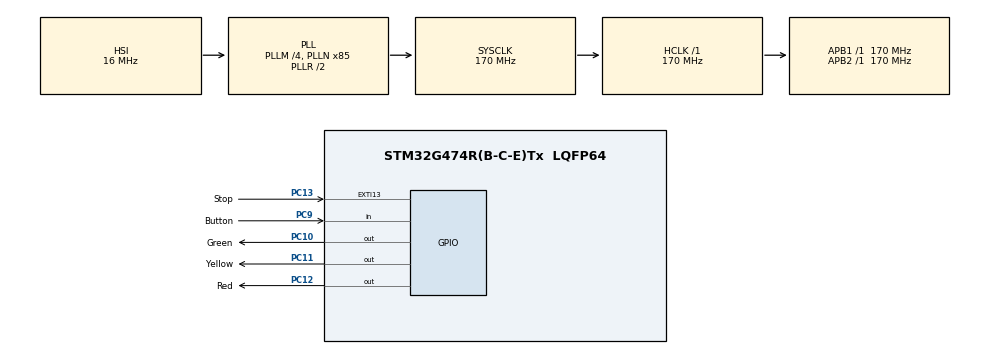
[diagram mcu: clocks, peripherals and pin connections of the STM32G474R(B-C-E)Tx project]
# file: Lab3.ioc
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Mcu.Family=STM32G4
Mcu.Name=STM32G474R(B-C-E)Tx
Mcu.Package=LQFP64
NVIC.EXTI15_10_IRQn=true\:1\:0\:true\:false\:true\:true\:true\:true
NVIC.PriorityGroup=NVIC_PRIORITYGROUP_4
PA13.GPIO_Label=T_SWDIO
PA13.Signal=SYS_JTMS-SWDIO
PA14.GPIO_Label=T_SWCLK
PA14.Signal=SYS_JTCK-SWCLK
PA2.GPIO_Label=LPUART1_TX [STLINKV3E_VCP_RX]
PA2.Signal=LPUART1_TX
PA3.GPIO_Label=LPUART1_RX [STLINKV3E_VCP_TX]
PA3.Signal=LPUART1_RX
PB3.GPIO_Label=T_SWO
PB3.Signal=SYS_JTDO-SWO
PC10.GPIO_Label=Green
PC10.Signal=GPIO_Output
PC11.GPIO_Label=Yellow
PC11.Signal=GPIO_Output
PC12.GPIO_Label=Red
PC12.Signal=GPIO_Output
PC13.GPIO_Label=Stop
PC13.GPIO_ModeDefaultEXTI=GPIO_MODE_IT_RISING
PC13.GPIO_PuPd=GPIO_PULLDOWN
PC13.Signal=GPXTI13
PC14-OSC32_IN.GPIO_Label=RCC_OSC32_IN
PC14-OSC32_IN.Signal=RCC_OSC32_IN
PC15-OSC32_OUT.GPIO_Label=RCC_OSC32_OUT
PC15-OSC32_OUT.Signal=RCC_OSC32_OUT
PC9.GPIO_Label=Button
PC9.GPIO_PuPd=GPIO_PULLUP
PC9.Signal=GPIO_Input
PF0-OSC_IN.GPIO_Label=RCC_OSC_IN
PF0-OSC_IN.Signal=RCC_OSC_IN
PF1-OSC_OUT.GPIO_Label=RCC_OSC_OUT
PF1-OSC_OUT.Signal=RCC_OSC_OUT
ProjectManager.HeapSize=0x200
ProjectManager.StackSize=0x400
ProjectManager.TargetToolchain=STM32CubeIDE
RCC.ADC12Freq_Value=170000000
RCC.ADC345Freq_Value=170000000
RCC.AHBFreq_Value=170000000
RCC.APB1Freq_Value=170000000
RCC.APB1TimFreq_Value=170000000
RCC.APB2Freq_Value=170000000
RCC.APB2TimFreq_Value=170000000
RCC.CortexFreq_Value=170000000
RCC.EXTERNAL_CLOCK_VALUE=12288000
RCC.HCLKFreq_Value=170000000
RCC.HSE_VALUE=24000000
RCC.HSI48_VALUE=48000000
RCC.HSI_VALUE=16000000
RCC.LSE_VALUE=32768
RCC.PLLM=RCC_PLLM_DIV4
RCC.PLLN=85
RCC.RTCClockSelection=RCC_RTCCLKSOURCE_LSE
RCC.SYSCLKFreq_VALUE=170000000
RCC.SYSCLKSource=RCC_SYSCLKSOURCE_PLLCLK
RCC.USBFreq_Value=170000000
RCC.VCOOutputFreq_Value=340000000
VP_SYS_VS_DBSignals.Mode=DisableDeadBatterySignals
board=NUCLEO-G474RE

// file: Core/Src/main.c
/* USER CODE BEGIN Header */
/**
- @file           : main.c
- @brief          : Main program body
  */
/* USER CODE END Header */

#include "main.h"

/* USER CODE BEGIN PV */

/* =========================
   State 定義
   0 = NORMAL
   1 = WARNING
   2 = EMERGENCY
   ========================= */
#define STATE_NORMAL      0
#define STATE_WARNING     1
#define STATE_EMERGENCY   2

int state = STATE_NORMAL;

/* =========================
   Timing 變數
   now      = 目前時間
   previous = 上一次狀態切換或 LED Toggle 的時間
   state_entry_time = 紀錄進入特定 State 的時間
   ========================= */
uint32_t now = 0;
uint32_t previous = 0;
uint32_t state_entry_time = 0; // 新增：專門記錄進入 WARNING 的起始時間

/* =========================
   STOP Event Flag
   由 EXTI Interrupt 設定
   ========================= */
volatile int STOP = 0;

/* =========================
   MODE Event
   ========================= */
int MODE_event = 0;

/* =========================
   MODE Button 狀態
   ========================= */
GPIO_PinState mode_previous = GPIO_PIN_SET;
GPIO_PinState mode_current = GPIO_PIN_SET;

/* USER CODE END PV */

void SystemClock_Config(void);
static void MX_GPIO_Init(void);

/**
- @brief  程式進入點
- @retval int
  */
int main(void)
{
  /* MCU 基本初始化 */
  HAL_Init();
  SystemClock_Config();
  MX_GPIO_Init();

  /* USER CODE BEGIN 2 */
  /* 開機預設：NORMAL 狀態 */
  previous = HAL_GetTick();
  HAL_GPIO_WritePin(GPIOC, GPIO_PIN_10, GPIO_PIN_SET);    // Green ON
  HAL_GPIO_WritePin(GPIOC, GPIO_PIN_11, GPIO_PIN_RESET);  // Yellow OFF
  HAL_GPIO_WritePin(GPIOC, GPIO_PIN_12, GPIO_PIN_RESET);  // Red OFF
  /* USER CODE END 2 */

  /* Infinite loop */
  /* USER CODE BEGIN WHILE */
  while (1)
  {
    /* =====================================================
       Step 1：Read Events
       ===================================================== */
    MODE_event = 0;

    mode_current = HAL_GPIO_ReadPin(GPIOC, GPIO_PIN_9);

    /* 偵測按下瞬間 (HIGH -> LOW) */
    if ((mode_previous == GPIO_PIN_SET) && (mode_current == GPIO_PIN_RESET))
    {
        HAL_Delay(50); // Debounce
        if (HAL_GPIO_ReadPin(GPIOC, GPIO_PIN_9) == GPIO_PIN_RESET)
        {
            MODE_event = 1;
        }
    }

    mode_previous = mode_current;
    now = HAL_GetTick();

    /* =====================================================
       Step 2：Write Event / Transition
       ===================================================== */

    /* 1. STOP Event (優先度最高) */
    if (STOP == 1)
    {
        state = STATE_EMERGENCY;
        STOP = 0;

        /* EMERGENCY 輸出 */
        HAL_GPIO_WritePin(GPIOC, GPIO_PIN_10, GPIO_PIN_RESET); // Green OFF
        HAL_GPIO_WritePin(GPIOC, GPIO_PIN_11, GPIO_PIN_RESET); // Yellow OFF
        HAL_GPIO_WritePin(GPIOC, GPIO_PIN_12, GPIO_PIN_SET);   // Red ON
    }
    /* 2. 按下 MODE 鍵切換狀態 */
    else if ((state == STATE_NORMAL) && (MODE_event == 1))
    {
        state = STATE_WARNING;
        previous = now;
        state_entry_time = now; // 紀錄進入 WARNING 的時間點

        /* WARNING 初始輸出 (進入時黃燈先亮) */
        HAL_GPIO_WritePin(GPIOC, GPIO_PIN_10, GPIO_PIN_RESET); // Green OFF
        HAL_GPIO_WritePin(GPIOC, GPIO_PIN_11, GPIO_PIN_SET);   // Yellow ON
        HAL_GPIO_WritePin(GPIOC, GPIO_PIN_12, GPIO_PIN_RESET); // Red OFF
    }
    else if ((state == STATE_WARNING) && (MODE_event == 1))
    {
        /* 在 WARNING 狀態手動按 MODE 也可以提前切回 NORMAL */
        state = STATE_NORMAL;
        previous = now;

        /* NORMAL 初始輸出 */
        HAL_GPIO_WritePin(GPIOC, GPIO_PIN_10, GPIO_PIN_SET);   // Green ON
        HAL_GPIO_WritePin(GPIOC, GPIO_PIN_11, GPIO_PIN_RESET); // Yellow OFF
        HAL_GPIO_WritePin(GPIOC, GPIO_PIN_12, GPIO_PIN_RESET); // Red OFF
    }
    /* 3. 新增：黃燈滿 5 秒自動跳回 NORMAL 狀態 */
    else if ((state == STATE_WARNING) && ((now - state_entry_time) >= 5000))
    {
        state = STATE_NORMAL;
        previous = now;

        /* NORMAL 初始輸出 */
        HAL_GPIO_WritePin(GPIOC, GPIO_PIN_10, GPIO_PIN_SET);   // Green ON
        HAL_GPIO_WritePin(GPIOC, GPIO_PIN_11, GPIO_PIN_RESET); // Yellow OFF
        HAL_GPIO_WritePin(GPIOC, GPIO_PIN_12, GPIO_PIN_RESET); // Red OFF
    }

    /* =====================================================
       Step 3：Write Behavior
       ===================================================== */

    /* NORMAL 狀態：綠燈 1 Hz 閃爍 */
    if (state == STATE_NORMAL)
    {
        if ((now - previous) >= 500)
        {
            previous = now;
            HAL_GPIO_TogglePin(GPIOC, GPIO_PIN_10);
        }
    }
    /* WARNING 狀態：黃燈 2 Hz 閃爍 */
    else if (state == STATE_WARNING)
    {
        if ((now - previous) >= 250)
        {
            previous = now;
            HAL_GPIO_TogglePin(GPIOC, GPIO_PIN_11);
        }
    }
    /* EMERGENCY 狀態：紅燈常亮 */
    else if (state == STATE_EMERGENCY)
    {
        HAL_GPIO_WritePin(GPIOC, GPIO_PIN_10, GPIO_PIN_RESET); // Green OFF
        HAL_GPIO_WritePin(GPIOC, GPIO_PIN_11, GPIO_PIN_RESET); // Yellow OFF
        HAL_GPIO_WritePin(GPIOC, GPIO_PIN_12, GPIO_PIN_SET);   // Red ON
    }
  }
  /* USER CODE END WHILE */
}

/**
- @brief 系統時脈設定
  */
void SystemClock_Config(void)
{
  RCC_OscInitTypeDef RCC_OscInitStruct = {0};
  RCC_ClkInitTypeDef RCC_ClkInitStruct = {0};

  HAL_PWREx_ControlVoltageScaling(PWR_REGULATOR_VOLTAGE_SCALE1_BOOST);

  RCC_OscInitStruct.OscillatorType = RCC_OSCILLATORTYPE_HSI;
  RCC_OscInitStruct.HSIState = RCC_HSI_ON;
  RCC_OscInitStruct.HSICalibrationValue = RCC_HSICALIBRATION_DEFAULT;
  RCC_OscInitStruct.PLL.PLLState = RCC_PLL_ON;
  RCC_OscInitStruct.PLL.PLLSource = RCC_PLLSOURCE_HSI;
  RCC_OscInitStruct.PLL.PLLM = RCC_PLLM_DIV4;
  RCC_OscInitStruct.PLL.PLLN = 85;
  RCC_OscInitStruct.PLL.PLLP = RCC_PLLP_DIV2;
  RCC_OscInitStruct.PLL.PLLQ = RCC_PLLQ_DIV2;
  RCC_OscInitStruct.PLL.PLLR = RCC_PLLR_DIV2;
  if (HAL_RCC_OscConfig(&RCC_OscInitStruct) != HAL_OK)
  {
    Error_Handler();
  }

  RCC_ClkInitStruct.ClockType = RCC_CLOCKTYPE_HCLK | RCC_CLOCKTYPE_SYSCLK | RCC_CLOCKTYPE_PCLK1 | RCC_CLOCKTYPE_PCLK2;
  RCC_ClkInitStruct.SYSCLKSource = RCC_SYSCLKSOURCE_PLLCLK;
  RCC_ClkInitStruct.AHBCLKDivider = RCC_SYSCLK_DIV1;
  RCC_ClkInitStruct.APB1CLKDivider = RCC_HCLK_DIV1;
  RCC_ClkInitStruct.APB2CLKDivider = RCC_HCLK_DIV1;

  if (HAL_RCC_ClockConfig(&RCC_ClkInitStruct, FLASH_LATENCY_4) != HAL_OK)
  {
    Error_Handler();
  }
}

/**
- @brief GPIO 初始化
  */
static void MX_GPIO_Init(void)
{
  GPIO_InitTypeDef GPIO_InitStruct = {0};

  __HAL_RCC_GPIOC_CLK_ENABLE();
  __HAL_RCC_GPIOF_CLK_ENABLE();
  __HAL_RCC_GPIOA_CLK_ENABLE();
  __HAL_RCC_GPIOB_CLK_ENABLE();

  HAL_GPIO_WritePin(GPIOC, GPIO_PIN_11 | GPIO_PIN_12 | GPIO_PIN_10, GPIO_PIN_RESET);

  /* PC13 STOP Button */
  GPIO_InitStruct.Pin = GPIO_PIN_13;
  GPIO_InitStruct.Mode = GPIO_MODE_IT_RISING;
  GPIO_InitStruct.Pull = GPIO_PULLDOWN;
  HAL_GPIO_Init(GPIOC, &GPIO_InitStruct);

  /* LED Output */
  GPIO_InitStruct.Pin = GPIO_PIN_11 | GPIO_PIN_12 | GPIO_PIN_10;
  GPIO_InitStruct.Mode = GPIO_MODE_OUTPUT_PP;
  GPIO_InitStruct.Pull = GPIO_NOPULL;
  GPIO_InitStruct.Speed = GPIO_SPEED_FREQ_LOW;
  HAL_GPIO_Init(GPIOC, &GPIO_InitStruct);

  /* PC9 MODE Button */
  GPIO_InitStruct.Pin = GPIO_PIN_9;
  GPIO_InitStruct.Mode = GPIO_MODE_INPUT;
  GPIO_InitStruct.Pull = GPIO_PULLUP;
  HAL_GPIO_Init(GPIOC, &GPIO_InitStruct);

  /* EXTI Interrupt */
  HAL_NVIC_SetPriority(EXTI15_10_IRQn, 1, 0);
  HAL_NVIC_EnableIRQ(EXTI15_10_IRQn);
}

/* USER CODE BEGIN 4 */
void HAL_GPIO_EXTI_Callback(uint16_t GPIO_Pin)
{
  if (GPIO_Pin == GPIO_PIN_13)
  {
    /* 加上 ReadPin 二次確認，防止干擾突波 */
    if (HAL_GPIO_ReadPin(GPIOC, GPIO_PIN_13) == GPIO_PIN_SET)
    {
      STOP = 1;
    }
  }
}
/* USER CODE END 4 */

void Error_Handler(void)
{
  __disable_irq();
  while (1)
  {
  }
}
